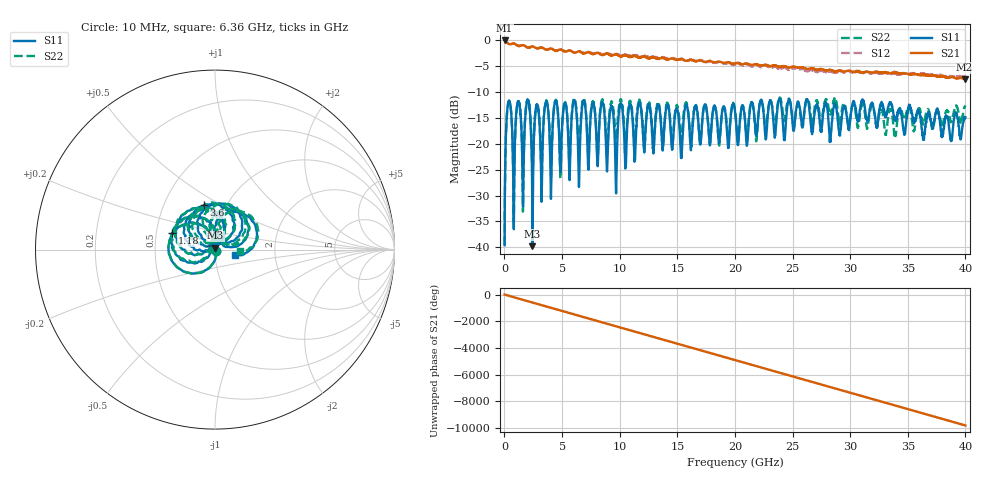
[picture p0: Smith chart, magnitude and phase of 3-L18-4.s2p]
! 2/21/2025 7:22:00 AM
! Z:\OQC\AD5\613\LOT-141-0825\SINGLE\3-L18-4.S2P
! CHANNEL.1
! TR.MEASUREMENT
! CORRECTED.DATA
! RF.CORRECTION: FULL.FOUR.PORT.CAL.PORT.1.2.3.4
! AVERAGING.OFF
! IF.BANDWIDTH: 1KHZ
! SWEEPTYPE:  FREQ.SWEEP(Linear)
! Reference Plane Port Info
! PORT:  PORT1  PORT2
! DISTANCE:  0  m  0  m
! TIME:  0  s  0  s
! PHASE.OFFSET:  0 °  0 °
! LOSS:  0  dB  0  dB
! REF.LOSS:  0  dB  0  dB
! REF.FREQ:  0  Hz  0  Hz
! Power Info
! POWER:  -10  dBm  -10  dBm
! EFF.POWER:  -10  dBm  -10  dBm
! SOURCE.ATTEN:  0  dB  0  dB
! TEST.ATTEN:  0  dB  0  dB
# GHZ S RI R 50.0
! FREQ.GHZ  S11RE  S11IM  S21RE  S21IM  S12RE  S12IM  S22RE  S22IM
!; PortSelection: Port_12
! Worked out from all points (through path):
!   4000 points, 10 MHz to 40 GHz, reference 50 ohm
!   highest |S21| = -0.07 dB at 10 MHz (marker M1); lowest = -7.5 dB at 39.93 GHz (marker M2)
!   group delay of S21, straight-line fit = 680 ps
!   lowest |S11| = -39.8 dB at 2.43 GHz (marker M3), VSWR 1.02, Z = 50.2 + j1.02 ohm
!   |S11| at or under -10 dB: start of sweep to end of sweep
!   |S22| runs from -39.5 to -11.1 dB; largest |S21 - S12| = 0.035
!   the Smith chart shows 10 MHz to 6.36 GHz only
!   S11 on the Smith chart (normalised r, x): 10 MHz: 1.01, -0.01; 1.18 GHz: 0.60, +0.12; 3.6 GHz: 0.79, +0.41; 6.36 GHz: 1.24, -0.08
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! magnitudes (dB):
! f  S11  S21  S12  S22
! 10 MHz  -39.6  -0.1  -0.1  -39.5
! 320 MHz  -12.1  -0.6  -0.7  -12.1
! 810 MHz  -36.5  -0.7  -0.7  -35.1
! 1.18 GHz  -11.8  -1.1  -1.1  -12.0
! 1.61 GHz  -32.1  -1.0  -1.0  -31.9
! 2.07 GHz  -11.6  -1.4  -1.4  -11.6
! 2.43 GHz  -39.8  -1.2  -1.2  -25.6
! 3.6 GHz  -11.9  -1.8  -1.8  -11.9
! 4.02 GHz  -28.9  -1.6  -1.6  -24.9
! 4.44 GHz  -11.7  -2.1  -2.0  -11.6
! 4.84 GHz  -25.5  -1.8  -1.8  -26.4
! 6.05 GHz  -11.7  -2.5  -2.3  -11.3
! 6.36 GHz  -18.8  -2.2  -2.2  -17.2
! 6.68 GHz  -14.0  -2.4  -2.3  -13.4
! 9.68 GHz  -29.6  -2.7  -2.7  -18.9
! 10.08 GHz  -12.4  -3.2  -2.9  -11.7
! 13.34 GHz  -12.4  -3.6  -3.5  -12.3
! 20.01 GHz  -13.9  -4.5  -4.8  -13.6
! 26.67 GHz  -17.7  -5.4  -5.7  -16.1
! 33.34 GHz  -12.6  -6.3  -6.5  -14.2
! 39.93 GHz  -14.8  -7.5  -7.1  -12.9
! 40 GHz  -14.9  -7.5  -7.1  -12.6
